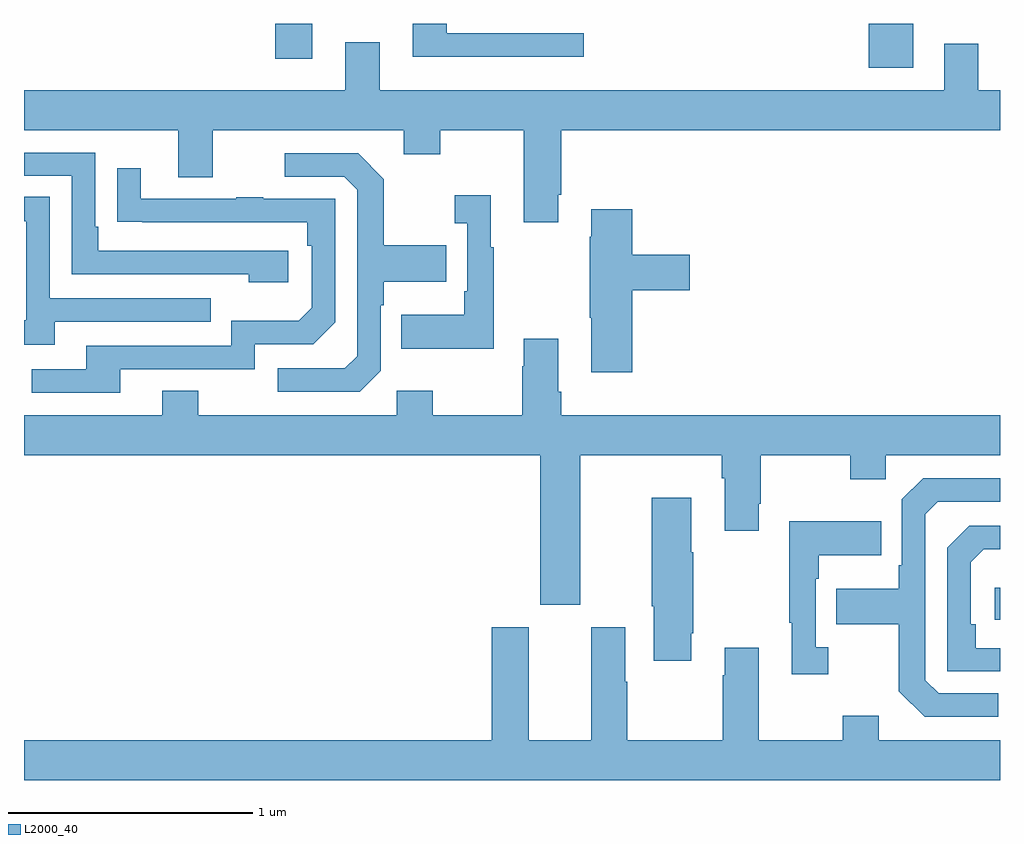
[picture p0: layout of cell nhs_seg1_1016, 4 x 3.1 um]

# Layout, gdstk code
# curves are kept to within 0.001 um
import gdstk
lib = gdstk.Library(unit=1e-6, precision=1e-09)
def R(c, l, rs):  # rectangles x0, y0, x1, y1
    for r in rs: c.add(gdstk.rectangle(r[:2], r[2:], *l))
def P(c, l, *ps):  # polygons
    for p in ps: c.add(gdstk.Polygon(p, *l))
L2000_40 = (2000, 40)

nhs_seg1_1016 = lib.new_cell('nhs_seg1_1016')
R(nhs_seg1_1016, L2000_40, [(170.979,517.758,171,517.888), (170.462,520.019,170.644,520.199), (168.029,520.056,168.181,520.199)])
P(nhs_seg1_1016, L2000_40, [(169.294,520.161),(168.733,520.161),(168.733,520.199),(168.593,520.199),(168.593,520.064),(169.294,520.064)],
  [(169.189,519.499),(169.202,519.499),(169.202,519.764),(171,519.764),(171,519.928),(170.911,519.928),(170.911,520.118),(170.771,520.118),(170.771,519.928),(168.457,519.928),(168.457,520.123),(168.317,520.123),(168.317,519.928),(167,519.928),(167,519.764),(167.633,519.764),(167.633,519.57),(167.773,519.57),(167.773,519.764),(168.557,519.764),(168.557,519.665),(168.705,519.665),(168.705,519.764),(169.049,519.764),(169.049,519.387),(169.189,519.387)],
  [(168.082,519.27),(167.305,519.27),(167.305,519.367),(167.292,519.367),(167.292,519.672),(167,519.672),(167,519.576),(167.196,519.576),(167.196,519.174),(167.921,519.174),(167.921,519.14),(168.082,519.14)],
  [(168.462,518.778),(168.462,519.047),(168.475,519.047),(168.475,519.143),(168.731,519.143),(168.731,519.291),(168.475,519.291),(168.475,519.563),(168.369,519.669),(168.069,519.669),(168.069,519.573),(168.312,519.573),(168.366,519.519),(168.366,518.838),(168.315,518.787),(168.039,518.787),(168.039,518.691),(168.375,518.691)],
  [(167.395,518.784),(167.946,518.784),(167.946,518.886),(168.186,518.886),(168.276,518.976),(168.276,519.483),(167.981,519.483),(167.981,519.488),(167.869,519.488),(167.869,519.483),(167.479,519.483),(167.479,519.607),(167.383,519.607),(167.383,519.388),(168.16,519.387),(168.16,519.29),(168.18,519.29),(168.18,519.036),(168.127,518.983),(167.85,518.983),(167.85,518.88),(167.255,518.88),(167.255,518.784),(167.031,518.784),(167.031,518.688),(167.395,518.688)],
  [(168.925,519.283),(168.913,519.283),(168.913,519.496),(168.765,519.496),(168.765,519.383),(168.816,519.383),(168.816,519.103),(168.804,519.103),(168.804,519.007),(168.547,519.007),(168.547,518.867),(168.925,518.867)],
  [(167.125,518.979),(167.765,518.979),(167.765,519.075),(167.106,519.075),(167.106,519.491),(167,519.491),(167,519.39),(167.01,519.39),(167.01,518.985),(167,518.985),(167,518.885),(167.125,518.885)],
  [(169.493,519.107),(169.729,519.107),(169.729,519.254),(169.493,519.254),(169.493,519.439),(169.325,519.439),(169.325,519.326),(169.318,519.326),(169.318,518.995),(169.325,518.995),(169.325,518.772),(169.493,518.772)],
  [(169.279,518.432),(169.859,518.432),(169.859,518.336),(169.871,518.336),(169.871,518.121),(170.011,518.121),(170.011,518.233),(170.019,518.233),(170.019,518.432),(170.386,518.432),(170.386,518.333),(170.532,518.333),(170.532,518.432),(171,518.432),(171,518.596),(169.202,518.596),(169.202,518.692),(169.189,518.692),(169.189,518.908),(169.049,518.908),(169.049,518.795),(169.042,518.795),(169.042,518.596),(168.675,518.596),(168.675,518.695),(168.528,518.695),(168.528,518.596),(167.715,518.596),(167.715,518.695),(167.567,518.695),(167.567,518.596),(167,518.596),(167,518.432),(169.115,518.432),(169.115,517.818),(169.279,517.818)],
  [(170.992,517.455),(170.748,517.455),(170.694,517.509),(170.694,518.19),(170.745,518.241),(171,518.241),(171,518.337),(170.685,518.337),(170.598,518.25),(170.598,517.981),(170.586,517.981),(170.586,517.885),(170.329,517.885),(170.329,517.738),(170.586,517.738),(170.586,517.465),(170.691,517.359),(170.992,517.359)],
  [(169.735,517.702),(169.743,517.702),(169.743,518.033),(169.735,518.033),(169.735,518.257),(169.573,518.257),(169.573,517.813),(169.58,517.813),(169.58,517.59),(169.735,517.59)],
  [(170.296,517.645),(170.244,517.645),(170.244,517.925),(170.257,517.925),(170.257,518.021),(170.513,518.021),(170.513,518.161),(170.136,518.161),(170.136,517.745),(170.147,517.745),(170.147,517.533),(170.296,517.533)],
  [(171,517.641),(170.9,517.641),(170.9,517.738),(170.88,517.738),(170.88,517.992),(170.933,518.045),(171,518.045),(171,518.142),(170.874,518.142),(170.784,518.052),(170.784,517.545),(171,517.545)],
  [(171,517.264),(170.503,517.264),(170.503,517.363),(170.356,517.363),(170.356,517.264),(170.011,517.264),(170.011,517.642),(169.871,517.642),(169.871,517.529),(169.864,517.529),(169.864,517.264),(169.473,517.264),(169.473,517.502),(169.465,517.502),(169.465,517.726),(169.325,517.726),(169.325,517.264),(169.069,517.264),(169.069,517.726),(168.917,517.726),(168.917,517.264),(167,517.264),(167,517.1),(171,517.1)])

lib.write_gds('nhs_seg1_1016.gds')
